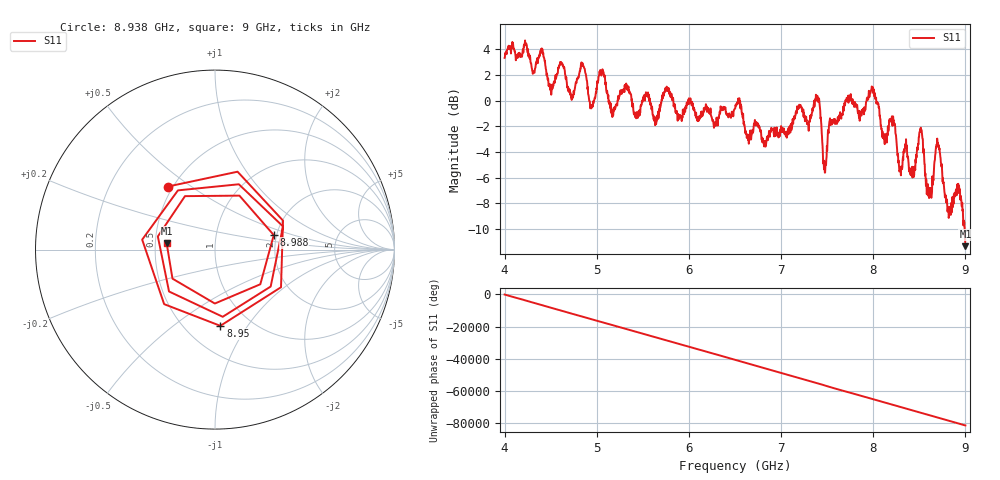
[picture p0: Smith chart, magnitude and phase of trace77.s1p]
! Created with skrf 1.8.0 (http://scikit-rf.org).
# Hz S RI R 50.0
!freq ReS11 ImS11
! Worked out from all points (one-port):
!   1601 points, 4 GHz to 9 GHz, reference 50 ohm
!   lowest |S11| = -11.3 dB at 9 GHz (marker M1), VSWR 1.74, Z = 28.7 + j2.11 ohm
!   |S11| at or under -10 dB: 8.991276 GHz to end of sweep
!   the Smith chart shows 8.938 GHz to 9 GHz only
!   S11 on the Smith chart (normalised r, x): 8.938 GHz: 0.47, +0.41; 8.95 GHz: 0.73, -0.76; 8.988 GHz: 1.93, +0.35; 9 GHz: 0.57, +0.04
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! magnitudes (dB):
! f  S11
! 4 GHz  3.3
! 4.406 GHz  3.9
! 4.503 GHz  0.7
! 4.625 GHz  2.9
! 4.722 GHz  0.2
! 4.847 GHz  2.8
! 4.941 GHz  -0.6
! 5.05 GHz  2.0
! 5.162 GHz  -1.0
! 5.25 GHz  0.5
! 5.875 GHz  -1.0
! 6.5 GHz  -0.6
! 6.812 GHz  -3.3
! 7.125 GHz  -1.4
! 7.391 GHz  0.3
! 7.478 GHz  -5.6
! 7.75 GHz  0.3
! 7.994 GHz  1.1
! 8.122 GHz  -3.2
! 8.375 GHz  -4.3
! 8.512 GHz  -2.4
! 8.606 GHz  -7.6
! 8.7 GHz  -3.3
! 8.816 GHz  -8.4
! 8.938 GHz  -7.2
! 8.95 GHz  -7.4
! 8.988 GHz  -9.4
! 9 GHz  -11.3
